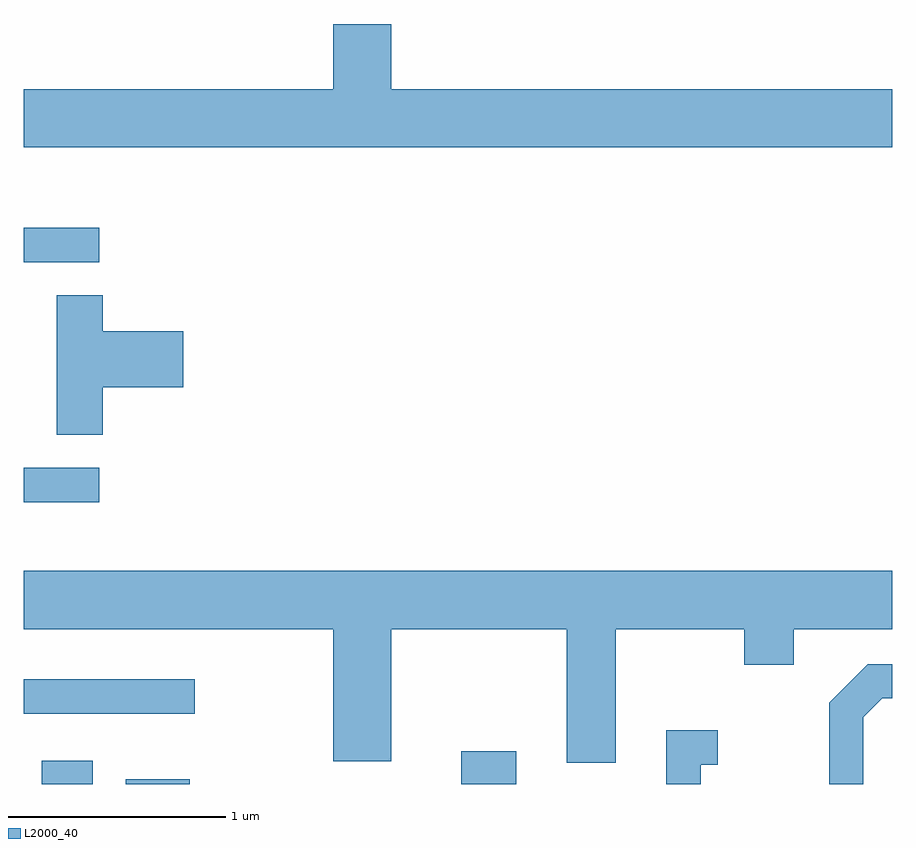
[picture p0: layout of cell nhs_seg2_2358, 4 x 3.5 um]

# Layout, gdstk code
import gdstk
lib = gdstk.Library(unit=1e-6, precision=1e-09)
def R(c, l, rs):  # rectangles x0, y0, x1, y1
    for r in rs: c.add(gdstk.rectangle(r[:2], r[2:], *l))
def P(c, l, *ps):  # polygons
    for p in ps: c.add(gdstk.Polygon(p, *l))
L2000_40 = (2000, 40)

nhs_seg2_2358 = lib.new_cell('nhs_seg2_2358')
R(nhs_seg2_2358, L2000_40, [(253.693,1069.802,253.929,1069.909), (254.081,1069.802,254.374,1069.824), (255.626,1069.802,255.879,1069.954), (253.611,1070.126,254.398,1070.284), (253.611,1071.101,253.958,1071.259), (253.611,1072.206,253.958,1072.364)])
P(nhs_seg2_2358, L2000_40, [(257.611,1073.004),(255.304,1073.004),(255.304,1073.304),(255.036,1073.304),(255.036,1073.004),(253.611,1073.004),(253.611,1072.736),(257.611,1072.736)],
  [(253.974,1071.631),(254.344,1071.631),(254.344,1071.889),(253.974,1071.889),(253.974,1072.054),(253.761,1072.054),(253.761,1071.411),(253.974,1071.411)],
  [(256.339,1070.516),(256.931,1070.516),(256.931,1070.351),(257.159,1070.351),(257.159,1070.516),(257.611,1070.516),(257.611,1070.784),(253.611,1070.784),(253.611,1070.516),(255.036,1070.516),(255.036,1069.906),(255.304,1069.906),(255.304,1070.516),(256.111,1070.516),(256.111,1069.901),(256.339,1069.901)],
  [(257.479,1070.109),(257.567,1070.196),(257.611,1070.196),(257.611,1070.354),(257.498,1070.354),(257.321,1070.177),(257.321,1069.802),(257.479,1069.802)],
  [(256.729,1069.891),(256.808,1069.891),(256.808,1070.049),(256.571,1070.049),(256.571,1069.802),(256.729,1069.802)])

lib.write_gds('nhs_seg2_2358.gds')
